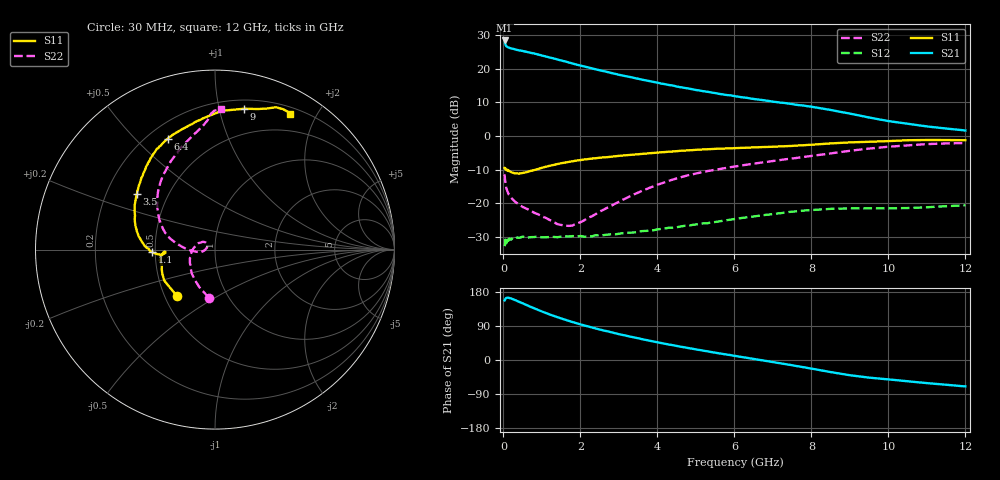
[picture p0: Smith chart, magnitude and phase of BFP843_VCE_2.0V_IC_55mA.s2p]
! Infineon Technologies  Discrete & RF Semiconductors
! BFP843
! VCE =  2.0 V,  IC =  55 mA
! Common Emitter S-Parameters:  Aug 2013
# GHz  S  MA  R  50
!  f  S11  S21  S12  S22
! GHz  MAG  ANG  MAG  ANG  MAG  ANG  MAG  ANG
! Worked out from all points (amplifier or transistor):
!   103 points, 30 MHz to 12 GHz, reference 50 ohm
!   highest |S21| = 28.3 dB at 30 MHz (marker M1)
!   |S21| within 3 dB of that: start of sweep to 440.1 MHz
!   unconditionally stable (mu >= 1): 52.33 MHz to 10.21 GHz
!   at 400 MHz: K = 1.11, MAG = 25.8 dB, |S12| = -30.3 dB
!   at 3.7 GHz: K = 1.48, MAG = 18.2 dB, |S12| = -28.2 dB
!   at 12 GHz: K = 0.86, MSG = 11.1 dB, |S12| = -20.6 dB
!   S11 on the Smith chart (normalised r, x): 30 MHz: 0.58, -0.34; 1.1 GHz: 0.48, -0.02; 3.5 GHz: 0.33, +0.29; 6.4 GHz: 0.28, +0.62; 9 GHz: 0.27, +1.19; 12 GHz: 0.28, +1.66
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0.03  0.3339 -129.4  26.11 157.2  0.0231 27.1  0.2695 -97.5
0.04  0.3286 -142.2  24 158.9  0.0244 20.6  0.2266 -112.7
0.05  0.331 -148.6  22.92 161.7  0.0289 15.2  0.2031 -123.5
0.07  0.3159 -160.0  21.54 163.5  0.0269 11.7  0.1729 -141.2
0.13  0.3033 -171.7  20.55 164.4  0.0279 14.8  0.1399 -167.8
0.7  0.3016 -174.7  17.13 140.5  0.0314 7.0  0.0782 146.4
0.9  0.323 -175.6  16.14 132.1  0.0321 5.7  0.0686 143.3
1.1  0.349 -177.5  15.11 124.1  0.0314 7.8  0.0607 143.2
1.3  0.3703 179.4  14.15 116.6  0.0317 8.7  0.0528 147.4
1.6  0.402 175.1  12.78 106.4  0.0323 9.7  0.0466 160.2
2.1  0.4466 166.9  10.72 91.2  0.032 12.4  0.056 -178.1
2.4  0.4669 162.1  9.726 83.1  0.0337 13.7  0.0692 -170.8
2.8  0.4913 155.5  8.597 73.2  0.0346 16.3  0.0918 -171.2
3.5  0.5338 144.6  7.056 57.3  0.0378 20.9  0.1444 -179.3
4.1  0.5725 135.8  5.976 44.7  0.0417 22.1  0.197 173.2
5  0.6219 125.4  4.805 27.9  0.0486 23.6  0.2763 163.4
6.1  0.6614 115.9  3.824 9.4  0.0594 21.2  0.3581 150.6
6.4  0.6714 113.1  3.611 4.4  0.0625 19.9  0.3804 146.8
8.5  0.7739 87.3  2.427 -31.9  0.0827 1.9  0.5498 116.7
9  0.8016 78.3  2.142 -40.2  0.084 -2.8  0.6013 108.1
10.5  0.8627 66.8  1.516 -56.1  0.0851 -11.3  0.7234 93.2
12  0.8633 61.0  1.204 -69.8  0.0934 -18.9  0.7848 87.7
